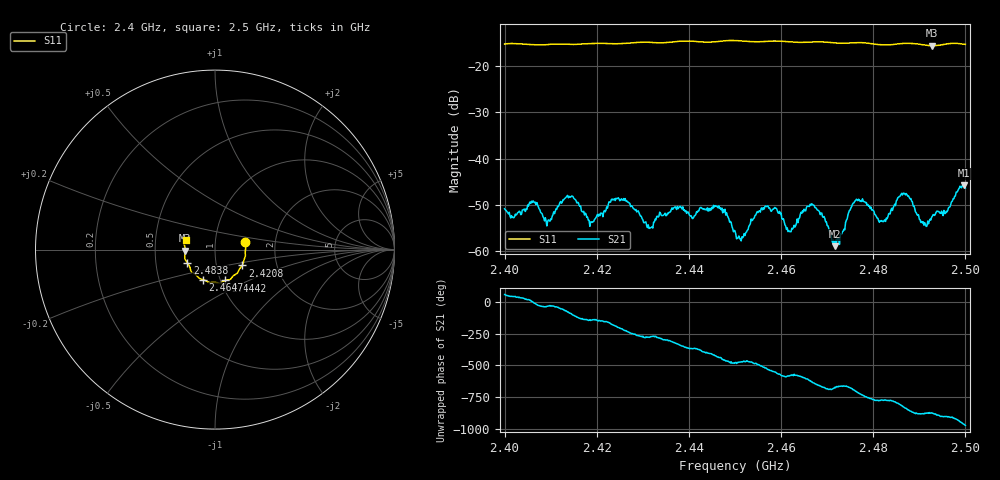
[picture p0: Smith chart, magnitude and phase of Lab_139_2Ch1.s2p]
# Hz S RI R 50
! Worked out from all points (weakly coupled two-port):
!   601 points, 2.4 GHz to 2.5 GHz, reference 50 ohm
!   highest |S21| = -45.76 dB at 2.4997 GHz (marker M1); lowest = -58.9 dB at 2.4717 GHz (marker M2)
!   lowest |S11| = -15.6 dB at 2.4928 GHz (marker M3), VSWR 1.40, Z = 35.8 - j0.398 ohm
!   |S11| at or under -10 dB: start of sweep to end of sweep
!   S12 and S22 are empty: the file has one direction only
!   S11 on the Smith chart (normalised r, x): 2.4 GHz: 1.40, +0.12; 2.4208 GHz: 1.33, -0.24; 2.4442 GHz: 1.05, -0.37; 2.4647 GHz: 0.83, -0.29; 2.4838 GHz: 0.73, -0.11; 2.5 GHz: 0.72, +0.08
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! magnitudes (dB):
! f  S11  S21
! 2.4 GHz  -15.3  -50.8
! 2.4142 GHz  -15.3  -48.3
! 2.4167 GHz  -15.3  -51.2
! 2.4208 GHz  -15.1  -51.8
! 2.4243 GHz  -15.2  -48.6
! 2.4313 GHz  -14.9  -55.0
! 2.4333 GHz  -15.0  -52.6
! 2.4442 GHz  -14.8  -51.3
! 2.45 GHz  -14.5  -55.6
! 2.4567 GHz  -14.7  -50.2
! 2.4617 GHz  -14.8  -55.5
! 2.4647 GHz  -14.9  -51.2
! 2.4667 GHz  -14.8  -49.7
! 2.4717 GHz  -15.0  -58.9
! 2.4765 GHz  -15.0  -48.8
! 2.4833 GHz  -15.4  -51.9
! 2.4838 GHz  -15.4  -51.1
! 2.4867 GHz  -15.1  -47.5
! 2.4905 GHz  -15.4  -53.5
! 2.4928 GHz  -15.6  -52.4
! 2.4997 GHz  -15.3  -45.8
! 2.5 GHz  -15.3  -46.3
